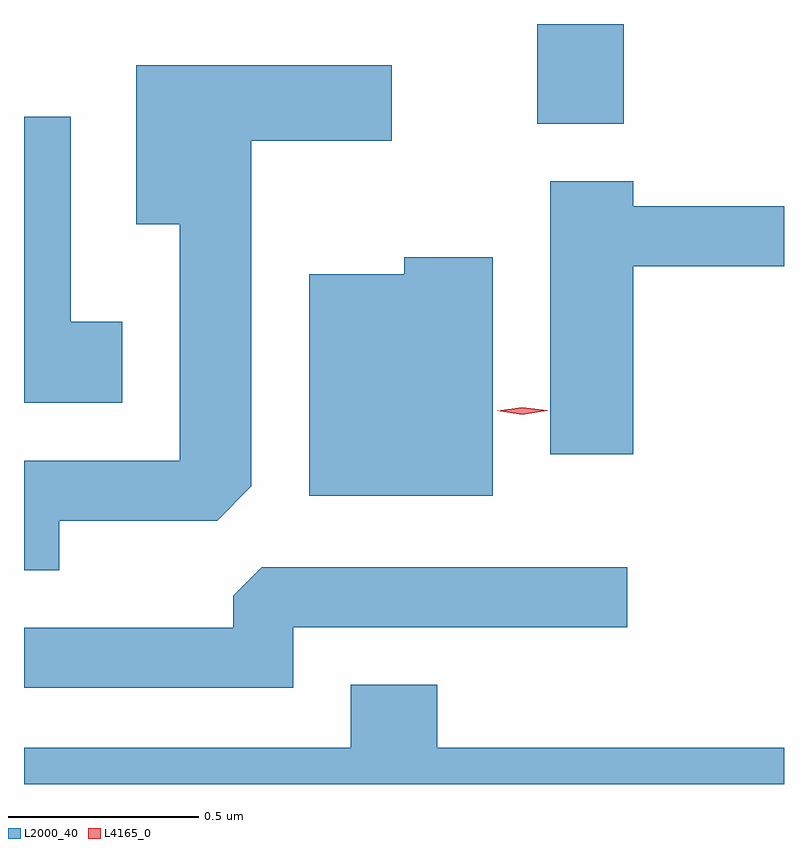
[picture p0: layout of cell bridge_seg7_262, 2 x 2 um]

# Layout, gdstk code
import gdstk
lib = gdstk.Library(unit=1e-6, precision=1e-09)
def R(c, l, rs):  # rectangles x0, y0, x1, y1
    for r in rs: c.add(gdstk.rectangle(r[:2], r[2:], *l))
def P(c, l, *ps):  # polygons
    for p in ps: c.add(gdstk.Polygon(p, *l))
L2000_40 = (2000, 40)
L4165_0 = (4165, 0)

bridge_seg7_262 = lib.new_cell('bridge_seg7_262')
R(bridge_seg7_262, L2000_40, [(1810.681,1696.246,1810.909,1696.508)])
P(bridge_seg7_262, L2000_40, [(1809.424,1695.201),(1809.839,1695.201),(1809.929,1695.292),(1809.929,1696.201),(1810.299,1696.201),(1810.299,1696.399),(1809.626,1696.399),(1809.626,1695.981),(1809.741,1695.981),(1809.741,1695.359),(1809.331,1695.359),(1809.331,1695.071),(1809.424,1695.071)],
  [(1809.589,1695.724),(1809.454,1695.724),(1809.454,1696.264),(1809.331,1696.264),(1809.331,1695.511),(1809.589,1695.511)],
  [(1810.934,1695.871),(1811.331,1695.871),(1811.331,1696.029),(1810.934,1696.029),(1810.934,1696.094),(1810.716,1696.094),(1810.716,1695.376),(1810.934,1695.376)],
  [(1810.564,1695.894),(1810.331,1695.894),(1810.331,1695.849),(1810.081,1695.849),(1810.081,1695.266),(1810.564,1695.266)],
  [(1810.039,1694.921),(1810.918,1694.921),(1810.918,1695.079),(1809.957,1695.079),(1809.881,1695.004),(1809.881,1694.919),(1809.331,1694.919),(1809.331,1694.761),(1810.039,1694.761)],
  [(1811.331,1694.604),(1810.419,1694.604),(1810.419,1694.769),(1810.191,1694.769),(1810.191,1694.604),(1809.331,1694.604),(1809.331,1694.508),(1811.331,1694.508)])
P(bridge_seg7_262, L4165_0, [(1810.642,1695.48),(1810.576,1695.49),(1810.576,1695.49),(1810.576,1695.49),(1810.642,1695.5),(1810.708,1695.491),(1810.708,1695.491),(1810.708,1695.49)])

lib.write_gds('bridge_seg7_262.gds')
